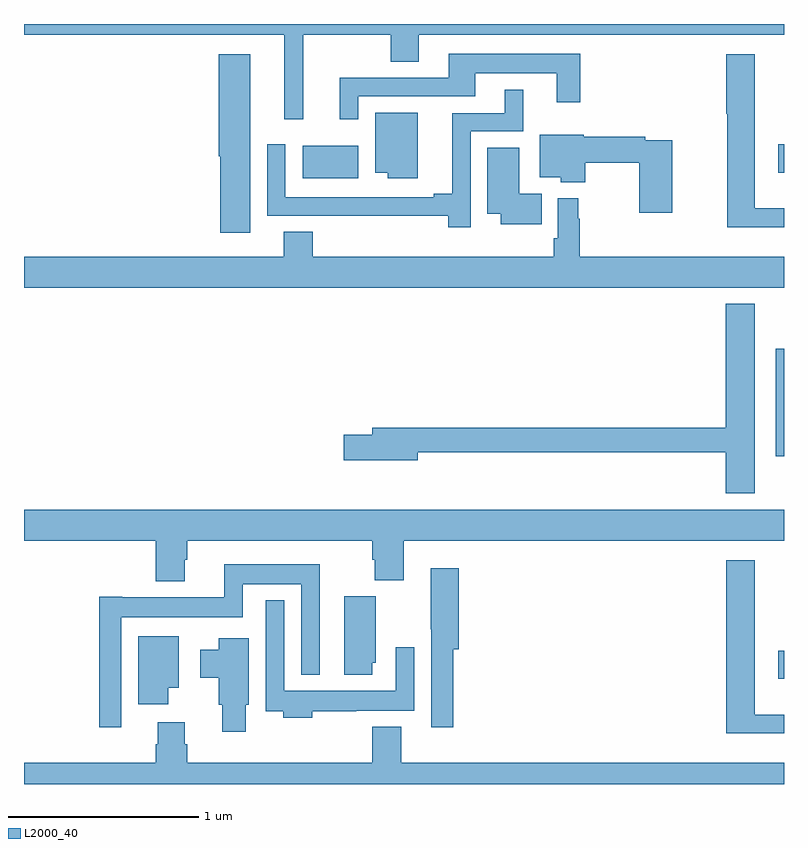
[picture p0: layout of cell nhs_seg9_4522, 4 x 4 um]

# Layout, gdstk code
import gdstk
lib = gdstk.Library(unit=1e-6, precision=1e-09)
def R(c, l, rs):  # rectangles x0, y0, x1, y1
    for r in rs: c.add(gdstk.rectangle(r[:2], r[2:], *l))
def P(c, l, *ps):  # polygons
    for p in ps: c.add(gdstk.Polygon(p, *l))
L2000_40 = (2000, 40)

nhs_seg9_4522 = lib.new_cell('nhs_seg9_4522')
R(nhs_seg9_4522, L2000_40, [(374.97,1169.054,375,1169.202), (374.957,1170.225,375,1170.792), (372.467,1171.688,372.76,1171.858), (374.97,1171.718,375,1171.866)])
P(nhs_seg9_4522, L2000_40, [(372.931,1172.302),(373.078,1172.302),(373.078,1172.444),(375,1172.444),(375,1172.5),(371,1172.5),(371,1172.444),(372.371,1172.444),(372.371,1171.998),(372.47,1171.998),(372.47,1172.444),(372.931,1172.444)],
  [(372.759,1172.121),(373.375,1172.121),(373.375,1172.24),(373.805,1172.24),(373.805,1172.088),(373.927,1172.088),(373.927,1172.344),(373.235,1172.344),(373.235,1172.217),(372.662,1172.217),(372.662,1171.998),(372.759,1171.998)],
  [(372.19,1172.341),(372.026,1172.341),(372.026,1171.803),(372.032,1171.803),(372.032,1171.401),(372.19,1171.401)],
  [(375,1171.529),(374.845,1171.529),(374.845,1172.341),(374.696,1172.341),(374.696,1172.028),(374.701,1172.028),(374.701,1171.43),(375,1171.43)],
  [(373.35,1171.935),(373.627,1171.935),(373.627,1172.155),(373.529,1172.155),(373.529,1172.031),(373.253,1172.031),(373.253,1171.607),(373.157,1171.607),(373.157,1171.587),(372.375,1171.587),(372.375,1171.867),(372.279,1171.867),(372.279,1171.491),(372.604,1171.491),(372.604,1171.49),(373.234,1171.49),(373.234,1171.431),(373.35,1171.431)],
  [(373.072,1172.032),(372.848,1172.032),(372.848,1171.718),(372.914,1171.718),(372.914,1171.688),(373.072,1171.688)],
  [(374.412,1171.887),(374.27,1171.887),(374.27,1171.907),(373.945,1171.907),(373.945,1171.918),(373.715,1171.918),(373.715,1171.694),(373.824,1171.694),(373.824,1171.667),(373.953,1171.667),(373.953,1171.771),(374.239,1171.771),(374.239,1171.506),(374.412,1171.506)],
  [(373.724,1171.606),(373.606,1171.606),(373.606,1171.85),(373.439,1171.85),(373.439,1171.502),(373.508,1171.502),(373.508,1171.445),(373.724,1171.445)],
  [(375,1171.276),(373.925,1171.276),(373.925,1171.475),(373.918,1171.475),(373.918,1171.582),(373.809,1171.582),(373.809,1171.372),(373.789,1171.372),(373.789,1171.276),(372.521,1171.276),(372.521,1171.406),(372.368,1171.406),(372.368,1171.276),(371,1171.276),(371,1171.112),(375,1171.112)],
  [(374.845,1171.027),(374.693,1171.027),(374.693,1170.374),(372.833,1170.374),(372.833,1170.338),(372.684,1170.338),(372.684,1170.203),(373.072,1170.203),(373.072,1170.246),(374.693,1170.246),(374.693,1170.029),(374.845,1170.029)],
  [(371,1169.78),(371.693,1169.78),(371.693,1169.567),(371.845,1169.567),(371.845,1169.679),(371.858,1169.679),(371.858,1169.78),(372.833,1169.78),(372.833,1169.681),(372.845,1169.681),(372.845,1169.572),(372.998,1169.572),(372.998,1169.78),(375,1169.78),(375,1169.944),(371,1169.944)],
  [(375,1168.865),(374.845,1168.865),(374.845,1169.677),(374.696,1169.677),(374.696,1168.766),(375,1168.766)],
  [(371.511,1169.378),(372.15,1169.378),(372.15,1169.552),(372.459,1169.552),(372.459,1169.075),(372.556,1169.075),(372.556,1169.656),(372.053,1169.656),(372.053,1169.482),(371.518,1169.482),(371.518,1169.485),(371.395,1169.485),(371.395,1168.8),(371.511,1168.8)],
  [(373.259,1169.21),(373.289,1169.21),(373.289,1169.635),(373.142,1169.635),(373.142,1169.314),(373.143,1169.314),(373.143,1168.8),(373.259,1168.8)],
  [(372.832,1169.139),(372.85,1169.139),(372.85,1169.487),(372.686,1169.487),(372.686,1169.076),(372.832,1169.076)],
  [(372.518,1168.884),(372.749,1168.884),(372.749,1168.886),(373.053,1168.886),(373.053,1169.221),(372.957,1169.221),(372.957,1168.99),(372.369,1168.99),(372.369,1169.467),(372.273,1169.467),(372.273,1168.884),(372.365,1168.884),(372.365,1168.85),(372.518,1168.85)],
  [(371.758,1169.006),(371.815,1169.006),(371.815,1169.278),(371.6,1169.278),(371.6,1168.92),(371.758,1168.92)],
  [(372.166,1168.917),(372.184,1168.917),(372.184,1169.266),(372.026,1169.266),(372.026,1169.206),(371.927,1169.206),(371.927,1169.059),(372.026,1169.059),(372.026,1168.917),(372.044,1168.917),(372.044,1168.776),(372.166,1168.776)],
  [(375,1168.612),(372.985,1168.612),(372.985,1168.801),(372.833,1168.801),(372.833,1168.612),(371.858,1168.612),(371.858,1168.71),(371.845,1168.71),(371.845,1168.825),(371.705,1168.825),(371.705,1168.71),(371.693,1168.71),(371.693,1168.612),(371,1168.612),(371,1168.5),(375,1168.5)])

lib.write_gds('nhs_seg9_4522.gds')
